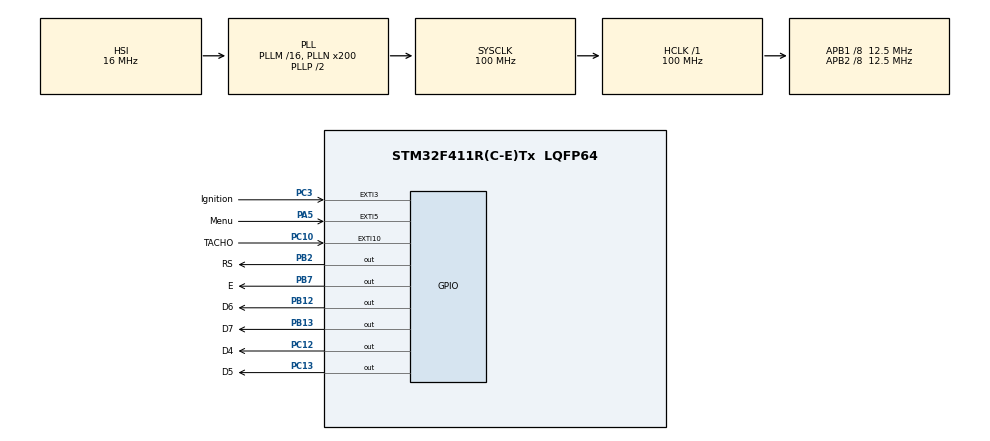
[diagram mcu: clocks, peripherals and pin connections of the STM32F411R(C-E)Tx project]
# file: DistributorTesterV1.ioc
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Mcu.Family=STM32F4
Mcu.Name=STM32F411R(C-E)Tx
Mcu.Package=LQFP64
NVIC.EXTI15_10_IRQn=true\:0\:0\:true\:false\:true\:true\:true\:true
NVIC.EXTI3_IRQn=true\:3\:0\:true\:false\:true\:true\:true\:true
NVIC.EXTI9_5_IRQn=true\:0\:0\:false\:false\:true\:true\:true\:true
NVIC.PriorityGroup=NVIC_PRIORITYGROUP_4
NVIC.TIM2_IRQn=true\:2\:0\:true\:false\:true\:true\:true\:true
NVIC.TIM3_IRQn=true\:1\:0\:true\:false\:true\:true\:true\:true
PA13.Mode=Serial_Wire
PA13.Signal=SYS_JTMS-SWDIO
PA14.Mode=Serial_Wire
PA14.Signal=SYS_JTCK-SWCLK
PA5.GPIO_Label=Menu
PA5.GPIO_ModeDefaultEXTI=GPIO_MODE_IT_FALLING
PA5.GPIO_PuPd=GPIO_PULLUP
PA5.Signal=GPXTI5
PB12.GPIO_Label=D6
PB12.Signal=GPIO_Output
PB13.GPIO_Label=D7
PB13.Signal=GPIO_Output
PB2.GPIO_Label=RS
PB2.Signal=GPIO_Output
PB7.GPIO_Label=E
PB7.Signal=GPIO_Output
PC10.GPIO_Label=TACHO
PC10.GPIO_ModeDefaultEXTI=GPIO_MODE_IT_FALLING
PC10.Signal=GPXTI10
PC12.GPIO_Label=D4
PC12.Signal=GPIO_Output
PC13-ANTI_TAMP.GPIO_Label=D5
PC13-ANTI_TAMP.Signal=GPIO_Output
PC14-OSC32_IN.Mode=LSE-External-Oscillator
PC14-OSC32_IN.Signal=RCC_OSC32_IN
PC15-OSC32_OUT.Mode=LSE-External-Oscillator
PC15-OSC32_OUT.Signal=RCC_OSC32_OUT
PC3.GPIO_Label=Ignition
PC3.GPIO_ModeDefaultEXTI=GPIO_MODE_IT_RISING_FALLING
PC3.Signal=GPXTI3
ProjectManager.HeapSize=0x200
ProjectManager.StackSize=0x400
ProjectManager.TargetToolchain=STM32CubeIDE
RCC.48MHZClocksFreq_Value=50000000
RCC.AHBFreq_Value=100000000
RCC.APB1CLKDivider=RCC_HCLK_DIV8
RCC.APB1Freq_Value=12500000
RCC.APB1TimFreq_Value=25000000
RCC.APB2CLKDivider=RCC_HCLK_DIV8
RCC.APB2Freq_Value=12500000
RCC.APB2TimFreq_Value=25000000
RCC.CortexFreq_Value=100000000
RCC.HCLKFreq_Value=100000000
RCC.HSE_VALUE=25000000
RCC.HSI_VALUE=16000000
RCC.PLLN=200
RCC.SYSCLKFreq_VALUE=100000000
RCC.SYSCLKSource=RCC_SYSCLKSOURCE_PLLCLK
RCC.VCOOutputFreq_Value=200000000
TIM11.Prescaler=25000
TIM2.AutoReloadPreload=TIM_AUTORELOAD_PRELOAD_ENABLE
TIM2.CounterMode=TIM_COUNTERMODE_UP
TIM2.Period=1000000-1
TIM2.Prescaler=25
TIM2.TIM_MasterOutputTrigger=TIM_TRGO_RESET
TIM3.AutoReloadPreload=TIM_AUTORELOAD_PRELOAD_ENABLE
TIM3.Period=2000-1
TIM3.Prescaler=25000
VP_TIM11_VS_ClockSourceINT.Mode=Enable_Timer
VP_TIM2_VS_ClockSourceINT.Mode=Internal
VP_TIM3_VS_ClockSourceINT.Mode=Internal
board=custom

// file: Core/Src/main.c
/* USER CODE BEGIN Header */
/**
  ******************************************************************************
  * @file           : main.c
  * @brief          : Main program body
  ******************************************************************************
  * @attention
  *
  * <h2><center>&copy; Copyright (c) 2020 STMicroelectronics.
  * All rights reserved.</center></h2>
  *
  * This software component is licensed by ST under BSD 3-Clause license,
  * the "License"; You may not use this file except in compliance with the
  * License. You may obtain a copy of the License at:
  *                        opensource.org/licenses/BSD-3-Clause
  *
  ******************************************************************************
  */
/* USER CODE END Header */
#include "main.h"

/* USER CODE BEGIN Includes */
#include "tm_stm32_hd44780.h"
#include <stdlib.h>
/* USER CODE END Includes */

TIM_HandleTypeDef htim2;
TIM_HandleTypeDef htim3;
TIM_HandleTypeDef htim11;

/* USER CODE BEGIN PV */

unsigned int ScreenUpdate;
unsigned char MathDo;
unsigned long TachoTimerValue;
unsigned int ScreenNumber;
unsigned int TachoIntNumber;

unsigned int DwellStartNumber;
unsigned int DwellEndNumber;
unsigned long CylinderDwellStartCounter[13];
unsigned long CylinderDwellEndCounter[13];

unsigned long TimerValue;
unsigned int  ScreenStatus;

float RPM;
float CylinderDwellMs[13];
float CylinderAdvanceDegree[13];
float CylinderDwellDegree[13];

unsigned long timedifference;

unsigned int CylinderCount;

char PrintString[7];
unsigned int i;

/* USER CODE END PV */

void SystemClock_Config(void);
static void MX_GPIO_Init(void);
static void MX_TIM2_Init(void);
static void MX_TIM3_Init(void);
static void MX_TIM11_Init(void);
/* USER CODE BEGIN PFP */
void SystemClock_ConfigDistributor(void);
void ClearScreenData(void);
/* USER CODE END PFP */

int main(void)
{

  /* USER CODE BEGIN 1 */
	//unsigned int ScreenStatus = ClearScreen;

  /* USER CODE END 1 */

  /* MCU Configuration--------------------------------------------------------*/

  /* Reset of all peripherals, Initializes the Flash interface and the Systick. */
  HAL_Init();

  /* Configure the system clock */
  SystemClock_Config();

  /* USER CODE BEGIN SysInit */
	SystemClock_ConfigDistributor();
  /* USER CODE END SysInit */

  /* Initialize all configured peripherals */
  MX_GPIO_Init();
  MX_TIM2_Init();
  MX_TIM3_Init();
  MX_TIM11_Init();
  /* USER CODE BEGIN 2 */
	HAL_NVIC_DisableIRQ(EXTI3_IRQn);
	HAL_NVIC_DisableIRQ(EXTI15_10_IRQn);

	TM_HD44780_Init(20, 4);
	ScreenNumber = 0;
	ScreenUpdate = ClearScreen;
	MathDo = MathUpdateDone;
  /* USER CODE END 2 */

  /* Infinite loop */
  /* USER CODE BEGIN WHILE */
	HAL_TIM_Base_Start(&htim2);    //Start TIM2 without interrupt
	HAL_TIM_Base_Start_IT(&htim3);    //Start TIM3 with interrupt
	while (1)
	{
		if (MathDo == MathUpdate)
		{

			if (TachoTimerValue > 0)
			{
				RPM = 1.0f / ((TachoTimerValue) / 60000000.0f);   //calculate Rpm
			} else {
				RPM = 0;
			}

			for (i = 0; i < 12; i++)
			{
				if ((CylinderDwellEndCounter[i] < CylinderDwellStartCounter[i]) || CylinderDwellEndCounter[i] == 0 || CylinderDwellStartCounter[i] == 0)  //check for any errors in data

				{
					CylinderAdvanceDegree[i] = 0;
					CylinderDwellDegree[i] = 0;
					CylinderDwellMs[i] = 0;
				} else {
					CylinderAdvanceDegree[i] =  (((float)TachoTimerValue - (float)CylinderDwellEndCounter[i])/(float)TachoTimerValue) * 360.0f;             //convert end count to degrees
					CylinderDwellDegree[i] = (((float)CylinderDwellEndCounter[i] - (float)CylinderDwellStartCounter[i]) / (float)TachoTimerValue) * 360.0f; //convert dwell count start and end difference to degrees
					CylinderDwellMs[i] = ((float)CylinderDwellEndCounter[i] - (float)CylinderDwellStartCounter[i]) / 1000.0f;                     //convert 1us count difference to ms
					if (CylinderDwellEndCounter[i] > 0) CylinderCount = i;                                                          //check amount of sparks per rotation.
					timedifference = TachoTimerValue- CylinderDwellEndCounter[CylinderCount];
				}
				CylinderDwellEndCounter[i] = 0;                                                                                 //clear for next round
				CylinderDwellStartCounter[i] = 0;                                                                               //clear for next round
			}
			ScreenUpdate = UpdateScreen;
			MathDo = MathUpdateDone;
			HAL_NVIC_EnableIRQ(EXTI9_5_IRQn);
		}

		if ((ScreenUpdate == UpdateScreen ) && (HAL_GPIO_ReadPin(Menu_GPIO_Port,Menu_Pin) == 1))
		{

			switch (ScreenNumber)
			{
			case 0:
				//TM_HD44780_Clear();
				ClearScreenData();
				//Do RPM print
				gcvt(RPM,5,PrintString);
				TM_HD44780_Puts(6, 1, PrintString);

				//Do Advance degree Print
				if (CylinderAdvanceDegree[CylinderCount] > 0)
				{
					gcvt(CylinderAdvanceDegree[CylinderCount], 4, PrintString);
					TM_HD44780_Puts(13, 2, PrintString);
				} else {
					TM_HD44780_Puts(13, 2, "err");

				}
				if (CylinderDwellDegree[CylinderCount] > 0)
				{
					gcvt(CylinderDwellDegree[CylinderCount], 4, PrintString);
					TM_HD44780_Puts(11, 3, PrintString);
				} else {
					TM_HD44780_Puts(11, 3, "err");
				}
				ScreenUpdate = ScreenUpdateDone;
				//HAL_NVIC_EnableIRQ(EXTI9_5_IRQn);
				break;

			case 1:
				//TM_HD44780_Clear();
				ClearScreenData();
				gcvt(RPM, 5, PrintString);
				TM_HD44780_Puts(14, 0, PrintString);

					gcvt(CylinderDwellDegree[0], 3,PrintString);
					TM_HD44780_Puts(0, 1, PrintString);

					gcvt(CylinderDwellDegree[1], 3,PrintString);
					TM_HD44780_Puts(5, 1, PrintString);

					gcvt(CylinderDwellDegree[2], 3,PrintString);
					TM_HD44780_Puts(10, 1, PrintString);

					gcvt(CylinderDwellDegree[3], 3,PrintString);
					TM_HD44780_Puts(15, 1, PrintString);

					gcvt(CylinderDwellDegree[4], 3,PrintString);
					TM_HD44780_Puts(0, 2, PrintString);

					gcvt(CylinderDwellDegree[5], 3,PrintString);
					TM_HD44780_Puts(5, 2, PrintString);

					gcvt(CylinderDwellDegree[6], 3,PrintString);
					TM_HD44780_Puts(10, 2, PrintString);

					gcvt(CylinderDwellDegree[7], 3,PrintString);
					TM_HD44780_Puts(15, 2, PrintString);

					gcvt(CylinderDwellDegree[8], 3,PrintString);
					TM_HD44780_Puts(0, 3, PrintString);

					gcvt(CylinderDwellDegree[9], 3,PrintString);
					TM_HD44780_Puts(5, 3, PrintString);

					gcvt(CylinderDwellDegree[10], 3,PrintString);
					TM_HD44780_Puts(10, 3, PrintString);

					gcvt(CylinderDwellDegree[11], 3,PrintString);
					TM_HD44780_Puts(15, 3, PrintString);
				ScreenUpdate = ScreenUpdateDone;
				//HAL_NVIC_EnableIRQ(EXTI9_5_IRQn);
				break;

			case 2:

				//TM_HD44780_Clear();
				ClearScreenData();
				gcvt(RPM, 5, PrintString);
				TM_HD44780_Puts(14, 0, PrintString);

					gcvt(CylinderDwellMs[0], 3,PrintString);
					TM_HD44780_Puts(0, 1, PrintString);

					gcvt(CylinderDwellMs[1], 3,PrintString);
					TM_HD44780_Puts(5, 1, PrintString);

					gcvt(CylinderDwellMs[2], 3,PrintString);
					TM_HD44780_Puts(10, 1, PrintString);

					gcvt(CylinderDwellMs[3], 3,PrintString);
					TM_HD44780_Puts(15, 1, PrintString);

					gcvt(CylinderDwellMs[4], 3,PrintString);
					TM_HD44780_Puts(0, 2, PrintString);

					gcvt(CylinderDwellMs[5], 3,PrintString);
					TM_HD44780_Puts(5, 2, PrintString);

					gcvt(CylinderDwellMs[6], 3,PrintString);
					TM_HD44780_Puts(10, 2, PrintString);

					gcvt(CylinderDwellMs[7], 3,PrintString);
					TM_HD44780_Puts(15, 2, PrintString);

					gcvt(CylinderDwellMs[8], 3,PrintString);
					TM_HD44780_Puts(0, 3, PrintString);

					gcvt(CylinderDwellMs[9], 3,PrintString);
					TM_HD44780_Puts(5, 3, PrintString);

					gcvt(CylinderDwellMs[10], 3,PrintString);
					TM_HD44780_Puts(10, 3, PrintString);

					gcvt(CylinderDwellMs[11], 3,PrintString);
					TM_HD44780_Puts(15, 3, PrintString);
				ScreenUpdate = ScreenUpdateDone;
				//HAL_NVIC_EnableIRQ(EXTI9_5_IRQn);
				break;

			case 3:
				//TM_HD44780_Clear();
				ClearScreenData();
				gcvt(RPM, 5, PrintString);
				TM_HD44780_Puts(14, 0, PrintString);

					gcvt(CylinderAdvanceDegree[0], 3,PrintString);
					TM_HD44780_Puts(0, 1, PrintString);

					gcvt(CylinderAdvanceDegree[1], 3,PrintString);
					TM_HD44780_Puts(5, 1, PrintString);

					gcvt(CylinderAdvanceDegree[2], 3,PrintString);
					TM_HD44780_Puts(10, 1, PrintString);

					gcvt(CylinderAdvanceDegree[3], 3,PrintString);
					TM_HD44780_Puts(15, 1, PrintString);

					gcvt(CylinderAdvanceDegree[4], 3,PrintString);
					TM_HD44780_Puts(0, 2, PrintString);

					gcvt(CylinderAdvanceDegree[5], 3,PrintString);
					TM_HD44780_Puts(5, 2, PrintString);

					gcvt(CylinderAdvanceDegree[6], 3,PrintString);
					TM_HD44780_Puts(10, 2, PrintString);

					gcvt(CylinderAdvanceDegree[7], 3,PrintString);
					TM_HD44780_Puts(15, 2, PrintString);

					gcvt(CylinderAdvanceDegree[8], 3,PrintString);
					TM_HD44780_Puts(0, 3, PrintString);

					gcvt(CylinderAdvanceDegree[9], 3,PrintString);
					TM_HD44780_Puts(5, 3, PrintString);

					gcvt(CylinderAdvanceDegree[10], 3,PrintString);
					TM_HD44780_Puts(10, 3, PrintString);

					gcvt(CylinderAdvanceDegree[11], 3,PrintString);
					TM_HD44780_Puts(15, 3, PrintString);
				ScreenUpdate = ScreenUpdateDone;
				//HAL_NVIC_EnableIRQ(EXTI9_5_IRQn);
				break;

			}
		}

		if (ScreenUpdate == ClearScreen ){
			ClearScreenData();
			ScreenUpdate = ScreenUpdateDone;

		}

    /* USER CODE END WHILE */

	}
}

void SystemClock_Config(void)
{
  RCC_OscInitTypeDef RCC_OscInitStruct = {0};
  RCC_ClkInitTypeDef RCC_ClkInitStruct = {0};

  /** Configure the main internal regulator output voltage
  */
  __HAL_RCC_PWR_CLK_ENABLE();
  __HAL_PWR_VOLTAGESCALING_CONFIG(PWR_REGULATOR_VOLTAGE_SCALE1);

  /** Initializes the RCC Oscillators according to the specified parameters
  * in the RCC_OscInitTypeDef structure.
  */
  RCC_OscInitStruct.OscillatorType = RCC_OSCILLATORTYPE_HSI;
  RCC_OscInitStruct.HSIState = RCC_HSI_ON;
  RCC_OscInitStruct.HSICalibrationValue = RCC_HSICALIBRATION_DEFAULT;
  RCC_OscInitStruct.PLL.PLLState = RCC_PLL_ON;
  RCC_OscInitStruct.PLL.PLLSource = RCC_PLLSOURCE_HSI;
  RCC_OscInitStruct.PLL.PLLM = 16;
  RCC_OscInitStruct.PLL.PLLN = 200;
  RCC_OscInitStruct.PLL.PLLP = RCC_PLLP_DIV2;
  RCC_OscInitStruct.PLL.PLLQ = 4;
  if (HAL_RCC_OscConfig(&RCC_OscInitStruct) != HAL_OK)
  {
    Error_Handler();
  }

  /** Initializes the CPU, AHB and APB buses clocks
  */
  RCC_ClkInitStruct.ClockType = RCC_CLOCKTYPE_HCLK|RCC_CLOCKTYPE_SYSCLK
                              |RCC_CLOCKTYPE_PCLK1|RCC_CLOCKTYPE_PCLK2;
  RCC_ClkInitStruct.SYSCLKSource = RCC_SYSCLKSOURCE_PLLCLK;
  RCC_ClkInitStruct.AHBCLKDivider = RCC_SYSCLK_DIV1;
  RCC_ClkInitStruct.APB1CLKDivider = RCC_HCLK_DIV8;
  RCC_ClkInitStruct.APB2CLKDivider = RCC_HCLK_DIV8;

  if (HAL_RCC_ClockConfig(&RCC_ClkInitStruct, FLASH_LATENCY_3) != HAL_OK)
  {
    Error_Handler();
  }
}

static void MX_TIM2_Init(void)
{

  TIM_ClockConfigTypeDef sClockSourceConfig = {0};
  TIM_MasterConfigTypeDef sMasterConfig = {0};

  htim2.Instance = TIM2;
  htim2.Init.Prescaler = 25;
  htim2.Init.CounterMode = TIM_COUNTERMODE_UP;
  htim2.Init.Period = 1000000-1;
  htim2.Init.ClockDivision = TIM_CLOCKDIVISION_DIV1;
  htim2.Init.AutoReloadPreload = TIM_AUTORELOAD_PRELOAD_ENABLE;
  if (HAL_TIM_Base_Init(&htim2) != HAL_OK)
  {
    Error_Handler();
  }
  sClockSourceConfig.ClockSource = TIM_CLOCKSOURCE_INTERNAL;
  if (HAL_TIM_ConfigClockSource(&htim2, &sClockSourceConfig) != HAL_OK)
  {
    Error_Handler();
  }
  sMasterConfig.MasterOutputTrigger = TIM_TRGO_RESET;
  sMasterConfig.MasterSlaveMode = TIM_MASTERSLAVEMODE_DISABLE;
  if (HAL_TIMEx_MasterConfigSynchronization(&htim2, &sMasterConfig) != HAL_OK)
  {
    Error_Handler();
  }

}

static void MX_TIM3_Init(void)
{

  TIM_ClockConfigTypeDef sClockSourceConfig = {0};
  TIM_MasterConfigTypeDef sMasterConfig = {0};

  htim3.Instance = TIM3;
  htim3.Init.Prescaler = 25000;
  htim3.Init.CounterMode = TIM_COUNTERMODE_UP;
  htim3.Init.Period = 2000-1;
  htim3.Init.ClockDivision = TIM_CLOCKDIVISION_DIV1;
  htim3.Init.AutoReloadPreload = TIM_AUTORELOAD_PRELOAD_ENABLE;
  if (HAL_TIM_Base_Init(&htim3) != HAL_OK)
  {
    Error_Handler();
  }
  sClockSourceConfig.ClockSource = TIM_CLOCKSOURCE_INTERNAL;
  if (HAL_TIM_ConfigClockSource(&htim3, &sClockSourceConfig) != HAL_OK)
  {
    Error_Handler();
  }
  sMasterConfig.MasterOutputTrigger = TIM_TRGO_RESET;
  sMasterConfig.MasterSlaveMode = TIM_MASTERSLAVEMODE_DISABLE;
  if (HAL_TIMEx_MasterConfigSynchronization(&htim3, &sMasterConfig) != HAL_OK)
  {
    Error_Handler();
  }

}

static void MX_TIM11_Init(void)
{

  htim11.Instance = TIM11;
  htim11.Init.Prescaler = 25000;
  htim11.Init.CounterMode = TIM_COUNTERMODE_UP;
  htim11.Init.Period = 65535;
  htim11.Init.ClockDivision = TIM_CLOCKDIVISION_DIV1;
  htim11.Init.AutoReloadPreload = TIM_AUTORELOAD_PRELOAD_DISABLE;
  if (HAL_TIM_Base_Init(&htim11) != HAL_OK)
  {
    Error_Handler();
  }

}

static void MX_GPIO_Init(void)
{
  GPIO_InitTypeDef GPIO_InitStruct = {0};

  /* GPIO Ports Clock Enable */
  __HAL_RCC_GPIOC_CLK_ENABLE();
  __HAL_RCC_GPIOA_CLK_ENABLE();
  __HAL_RCC_GPIOB_CLK_ENABLE();

  /*Configure GPIO pin Output Level */
  HAL_GPIO_WritePin(GPIOC, D5_Pin|D4_Pin, GPIO_PIN_RESET);

  /*Configure GPIO pin Output Level */
  HAL_GPIO_WritePin(GPIOB, RS_Pin|D6_Pin|D7_Pin|E_Pin, GPIO_PIN_RESET);

  /*Configure GPIO pins : D5_Pin D4_Pin */
  GPIO_InitStruct.Pin = D5_Pin|D4_Pin;
  GPIO_InitStruct.Mode = GPIO_MODE_OUTPUT_PP;
  GPIO_InitStruct.Pull = GPIO_NOPULL;
  GPIO_InitStruct.Speed = GPIO_SPEED_FREQ_LOW;
  HAL_GPIO_Init(GPIOC, &GPIO_InitStruct);

  /*Configure GPIO pin : Ignition_Pin */
  GPIO_InitStruct.Pin = Ignition_Pin;
  GPIO_InitStruct.Mode = GPIO_MODE_IT_RISING_FALLING;
  GPIO_InitStruct.Pull = GPIO_NOPULL;
  HAL_GPIO_Init(Ignition_GPIO_Port, &GPIO_InitStruct);

  /*Configure GPIO pin : Menu_Pin */
  GPIO_InitStruct.Pin = Menu_Pin;
  GPIO_InitStruct.Mode = GPIO_MODE_IT_FALLING;
  GPIO_InitStruct.Pull = GPIO_PULLUP;
  HAL_GPIO_Init(Menu_GPIO_Port, &GPIO_InitStruct);

  /*Configure GPIO pins : RS_Pin D6_Pin D7_Pin E_Pin */
  GPIO_InitStruct.Pin = RS_Pin|D6_Pin|D7_Pin|E_Pin;
  GPIO_InitStruct.Mode = GPIO_MODE_OUTPUT_PP;
  GPIO_InitStruct.Pull = GPIO_NOPULL;
  GPIO_InitStruct.Speed = GPIO_SPEED_FREQ_LOW;
  HAL_GPIO_Init(GPIOB, &GPIO_InitStruct);

  /*Configure GPIO pin : TACHO_Pin */
  GPIO_InitStruct.Pin = TACHO_Pin;
  GPIO_InitStruct.Mode = GPIO_MODE_IT_FALLING;
  GPIO_InitStruct.Pull = GPIO_NOPULL;
  HAL_GPIO_Init(TACHO_GPIO_Port, &GPIO_InitStruct);

  /* EXTI interrupt init*/
  HAL_NVIC_SetPriority(EXTI3_IRQn, 3, 0);
  HAL_NVIC_EnableIRQ(EXTI3_IRQn);

  HAL_NVIC_SetPriority(EXTI9_5_IRQn, 0, 0);
  HAL_NVIC_EnableIRQ(EXTI9_5_IRQn);

  HAL_NVIC_SetPriority(EXTI15_10_IRQn, 0, 0);
  HAL_NVIC_EnableIRQ(EXTI15_10_IRQn);

}

/* USER CODE BEGIN 4 */
void ClearScreenData(void)
{
	  //TM_HD44780_Init(20, 4);
	  switch (ScreenNumber)
	  {
	  case 0:
		  TM_HD44780_Puts(0, 0, "  Distributor Data  ");
		  TM_HD44780_Puts(0, 1, "RPM                 ");
		  TM_HD44780_Puts(0, 2, "Advance Deg         ");
		  TM_HD44780_Puts(0, 3, "Dwell Deg           ");
		  break;
	  case 1:
		  TM_HD44780_Puts(0, 0, "DwellDeg RPM:       ");
		  TM_HD44780_Puts(0, 1, "                    ");
		  TM_HD44780_Puts(0, 2, "                    ");
		  TM_HD44780_Puts(0, 3, "                    ");
	  case 2:
		  TM_HD44780_Puts(0, 0, "Dwell ms RPM:       ");
		  TM_HD44780_Puts(0, 1, "                    ");
		  TM_HD44780_Puts(0, 2, "                    ");
		  TM_HD44780_Puts(0, 3, "                    ");
		  break;
	  case 3:
		  TM_HD44780_Puts(0, 0, "Adv  Deg RPM:       ");
		  TM_HD44780_Puts(0, 1, "                    ");
		  TM_HD44780_Puts(0, 2, "                    ");
		  TM_HD44780_Puts(0, 3, "                    ");
		  break;

		  break;

	  }
}

void SystemClock_ConfigDistributor(void)
{
  RCC_OscInitTypeDef RCC_OscInitStruct = {0};
  RCC_ClkInitTypeDef RCC_ClkInitStruct = {0};

  /** Configure the main internal regulator output voltage
  */
  __HAL_RCC_PWR_CLK_ENABLE();
  __HAL_PWR_VOLTAGESCALING_CONFIG(PWR_REGULATOR_VOLTAGE_SCALE1);
  /** Initializes the CPU, AHB and APB busses clocks
  */
  RCC_OscInitStruct.OscillatorType = RCC_OSCILLATORTYPE_HSI;
  RCC_OscInitStruct.HSIState = RCC_HSI_ON;
  RCC_OscInitStruct.HSICalibrationValue = 20;
  RCC_OscInitStruct.PLL.PLLState = RCC_PLL_ON;
  RCC_OscInitStruct.PLL.PLLSource = RCC_PLLSOURCE_HSI;
  RCC_OscInitStruct.PLL.PLLM = 16;
  RCC_OscInitStruct.PLL.PLLN = 200;
  RCC_OscInitStruct.PLL.PLLP = RCC_PLLP_DIV2;
  RCC_OscInitStruct.PLL.PLLQ = 4;
  if (HAL_RCC_OscConfig(&RCC_OscInitStruct) != HAL_OK)
  {
    Error_Handler();
  }
  /** Initializes the CPU, AHB and APB busses clocks
  */
  RCC_ClkInitStruct.ClockType = RCC_CLOCKTYPE_HCLK|RCC_CLOCKTYPE_SYSCLK
                              |RCC_CLOCKTYPE_PCLK1|RCC_CLOCKTYPE_PCLK2;
  RCC_ClkInitStruct.SYSCLKSource = RCC_SYSCLKSOURCE_PLLCLK;
  RCC_ClkInitStruct.AHBCLKDivider = RCC_SYSCLK_DIV1;
  RCC_ClkInitStruct.APB1CLKDivider = RCC_HCLK_DIV8;
  RCC_ClkInitStruct.APB2CLKDivider = RCC_HCLK_DIV8;

  if (HAL_RCC_ClockConfig(&RCC_ClkInitStruct, FLASH_LATENCY_3) != HAL_OK)
  {
    Error_Handler();
  }
}

/* USER CODE END 4 */

void Error_Handler(void)
{
}
